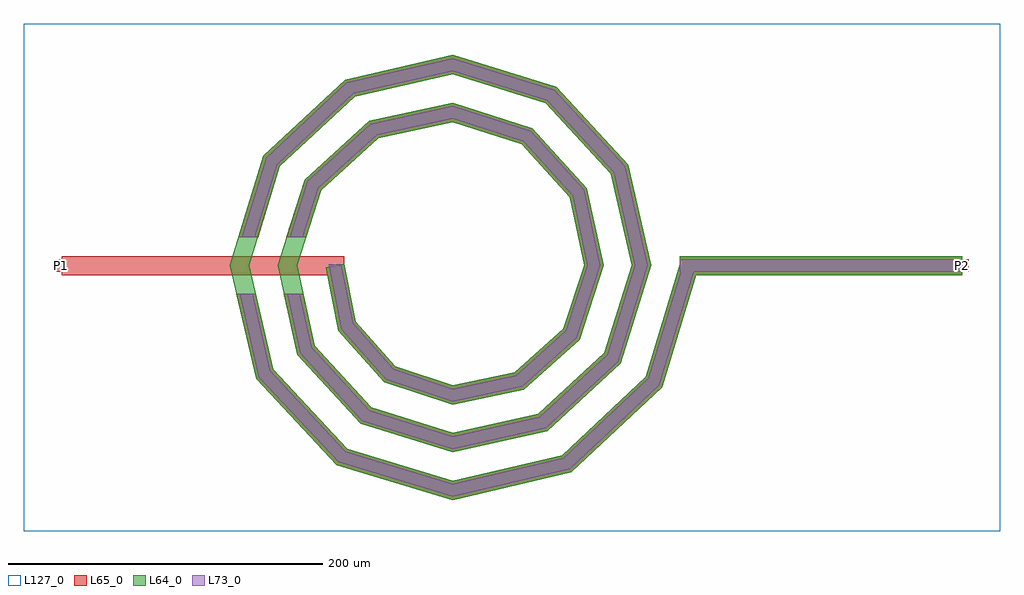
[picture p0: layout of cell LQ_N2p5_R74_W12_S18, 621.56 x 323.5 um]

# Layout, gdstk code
import gdstk
lib = gdstk.Library(unit=1e-6, precision=1e-09)
def R(c, l, rs):  # rectangles x0, y0, x1, y1
    for r in rs: c.add(gdstk.rectangle(r[:2], r[2:], *l))
def P(c, l, *ps):  # polygons
    for p in ps: c.add(gdstk.Polygon(p, *l))
L64_0 = (64, 0)
L65_0 = (65, 0)
L73_0 = (73, 0)
L127_0 = (127, 0)

lq_n2p5_r74_w12_s18 = lib.new_cell('LQ_N2p5_R74_W12_S18')
R(lq_n2p5_r74_w12_s18, L64_0, [(144.713,-6,324.713,6)])
P(lq_n2p5_r74_w12_s18, L64_0, [(-61.452,-35.916),(-36.536,-64.014),(0.355,-76.234),(39.679,-68.038),(70.567,-40.355),(83.819,0.325),(74.62,43.447),(44.171,77.122),(0.3,91.404),(-47.219,81.201),(-83.68,47.983),(-98.989,0.278),(-87.781,-50.994),(-51.793,-90.239),(0.26,-106.574),(54.772,-94.359),(96.8,-55.601),(114.16,0.243),(100.936,58.551),(59.406,103.362),(0.229,121.746),(-62.332,107.513),(-109.925,63.211),(-129.332,0.216),(-114.088,-66.114),(-67.014,-116.488),(0.205,-136.918),(69.897,-120.663),(123.053,-70.816),(144.969,1.735),(156.456,-1.735),(133.609,-77.368),(75.758,-131.619),(0.205,-149.335),(-73.584,-127.034),(-125.054,-71.955),(-141.749,0.216),(-120.458,69.801),(-68.151,118.49),(0.229,134.162),(66.019,113.881),(111.927,64.346),(126.575,0.243),(107.303,-62.238),(60.539,-105.364),(0.26,-118.989),(-58.46,-100.724),(-98.803,-56.73),(-111.402,0.278),(-94.144,54.683),(-52.918,92.242),(0.3,103.815),(50.909,87.562),(85.684,49.104),(96.227,0.325),(80.978,-47.139),(45.286,-79.127),(0.355,-88.64),(-43.372,-74.391),(-72.572,-41.463),(-80.731,-1.191),(-68.97,1.191)])
R(lq_n2p5_r74_w12_s18, L65_0, [(-248.851,-6,-68.851,6), (144.713,-6,324.713,6), (-252.851,-4,-244.851,4), (320.713,-4,328.713,4)])
P(lq_n2p5_r74_w12_s18, L65_0, [(-114.088,-66.114),(-67.014,-116.488),(0.205,-136.918),(69.897,-120.663),(123.053,-70.816),(144.969,1.735),(156.456,-1.735),(133.609,-77.368),(75.758,-131.619),(0.205,-149.335),(-73.584,-127.034),(-125.054,-71.955),(-137.535,-18),(-125.218,-18)],
  [(-87.781,-50.994),(-51.793,-90.239),(0.26,-106.575),(54.772,-94.359),(96.8,-55.601),(114.16,0.243),(100.936,58.551),(59.406,103.362),(0.229,121.746),(-62.332,107.513),(-109.925,63.211),(-123.758,18),(-136.307,18),(-120.458,69.801),(-68.151,118.49),(0.229,134.162),(66.019,113.881),(111.927,64.346),(126.575,0.243),(107.303,-62.239),(60.539,-105.364),(0.26,-118.989),(-58.46,-100.724),(-98.803,-56.73),(-107.362,-18),(-95.073,-18)],
  [(-36.536,-64.014),(0.355,-76.234),(39.679,-68.038),(70.567,-40.355),(83.819,0.325),(74.62,43.448),(44.171,77.122),(0.3,91.404),(-47.219,81.201),(-83.68,47.983),(-93.191,18),(-105.78,18),(-94.144,54.683),(-52.919,92.243),(0.3,103.815),(50.91,87.562),(85.684,49.104),(96.227,0.325),(80.978,-47.139),(45.286,-79.127),(0.355,-88.64),(-43.373,-74.391),(-72.572,-41.463),(-80.731,-1.191),(-68.97,1.191),(-61.452,-35.916)])
R(lq_n2p5_r74_w12_s18, L73_0, [(144.713,-4,324.713,4)])
P(lq_n2p5_r74_w12_s18, L73_0, [(-115.916,-67.087),(-68.109,-118.246),(0.137,-138.987),(70.874,-122.489),(124.812,-71.908),(146.883,1.157),(154.542,-1.157),(131.85,-76.276),(74.781,-129.793),(0.137,-147.266),(-72.489,-125.276),(-123.226,-70.981),(-135.482,-18),(-127.271,-18)],
  [(-89.618,-51.95),(-52.904,-91.987),(0.173,-108.644),(55.733,-96.193),(98.551,-56.707),(116.229,0.162),(102.768,59.517),(60.508,105.115),(0.153,123.815),(-63.302,109.342),(-111.68,64.309),(-125.85,18),(-134.216,18),(-118.702,68.702),(-67.181,116.66),(0.153,132.093),(64.917,112.128),(110.095,63.38),(124.506,0.162),(105.553,-61.132),(59.578,-103.53),(0.173,-116.92),(-57.349,-98.977),(-96.966,-55.774),(-105.314,-18),(-97.121,-18)],
  [(-37.675,-65.744),(0.237,-78.301),(40.614,-69.886),(72.302,-41.486),(85.887,0.217),(76.464,44.39),(45.294,78.862),(0.2,93.472),(-48.169,83.042),(-85.424,49.1),(-95.289,18),(-103.682,18),(-92.4,53.567),(-51.969,90.402),(0.2,101.746),(49.786,85.822),(83.84,48.161),(94.159,0.217),(79.243,-46.008),(44.352,-77.279),(0.237,-86.572),(-42.233,-72.661),(-70.719,-40.539),(-78.771,0.794),(-70.93,0.794),(-63.306,-36.841)])
R(lq_n2p5_r74_w12_s18, L127_0, [(-272.851,-169.335,348.713,154.162)])
lq_n2p5_r74_w12_s18.add(gdstk.Label('P2', (324.713,0), layer=65, texttype=0))
lq_n2p5_r74_w12_s18.add(gdstk.Label('P1', (-248.851,0), layer=65, texttype=0))
lq_n2p5_r74_w12_s18.add(gdstk.Label('P2', (328.713,0), layer=145, texttype=0))
lq_n2p5_r74_w12_s18.add(gdstk.Label('P1', (-252.851,0), layer=145, texttype=0))

lib.write_gds('LQ_N2p5_R74_W12_S18.gds')
